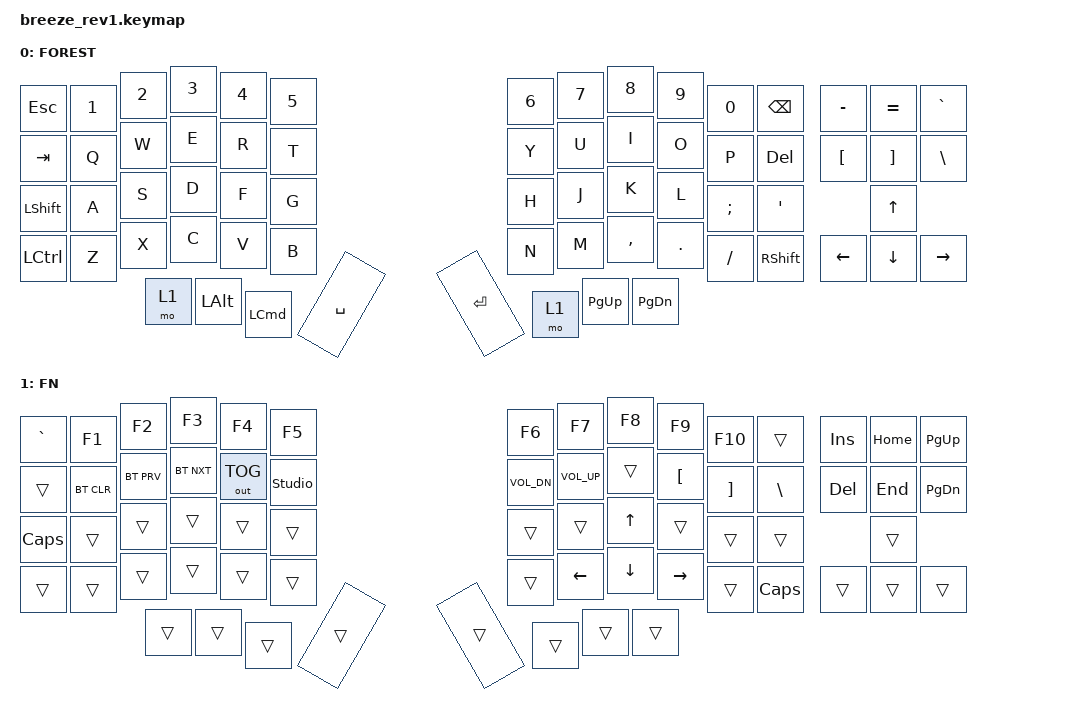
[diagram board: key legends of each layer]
/*
 * Copyright (c) 2022 The ZMK Contributors
 *
 * SPDX-License-Identifier: MIT
 */

#define ZMK_BEHAVIORS_KEEP_CAPS_WORD

#include <behaviors.dtsi>
#include <dt-bindings/zmk/bt.h>
#include <dt-bindings/zmk/keys.h>
#include <dt-bindings/zmk/outputs.h>

/ {
    keymap {
        compatible = "zmk,keymap";

        default_layer {
            display-name = "FOREST";

            // Ref: https://zmkfirmware.dev/docs/codes/
            // ---  MAIN  -----------------------------------------------------------------------------------------------------------------------
            // |    ESC    |     1     |     2     |     3      |      4      |      5     |                           |      6      |      7     |      8      |      9     |     0    |    BSPC    | |    -/_    |     =/+     |    GRAVE    |
            // |    TAB    |     Q     |     W     |     E      |      R      |      T     |                           |      Y      |      U     |      I      |      O     |     P    |    DEL     | |     \     |      [      |      ]      |
            // |   LCTRL   |     A     |     S     |     D      |      F      |      G     |                           |      H      |      J     |      K      |      L     |     ;    |     '      | |           |      UP     |             |
            // |   SHIFT   |     Z     |     X     |     C      |      V      |      B     |                           |      N      |      M     |      ,      |      .     |     /    |   RSHIFT   | |     L     |      DN     |      R      |
            //                                     |   NUMPAD   |     LALT    |    LCMD    |   SPACE    |  |   ENTER   |   FUNCTION  |  MACOS APP |  MACOS LANG |

            bindings = <
&kp ESC         &kp N1  &kp N2  &kp N3  &kp N4    &kp N5                          &kp N6  &kp N7       &kp N8         &kp N9   &kp N0    &kp BSPC    &kp MINUS         &kp EQUAL          &kp GRAVE
&kp TAB         &kp Q   &kp W   &kp E   &kp R     &kp T                           &kp Y   &kp U        &kp I          &kp O    &kp P     &kp DEL     &kp LEFT_BRACKET  &kp RIGHT_BRACKET  &kp BACKSLASH
&kp LEFT_SHIFT  &kp A   &kp S   &kp D   &kp F     &kp G                           &kp H   &kp J        &kp K          &kp L    &kp SEMI  &kp APOS                      &kp UP
&kp LCTRL       &kp Z   &kp X   &kp C   &kp V     &kp B                           &kp N   &kp M        &kp COMMA      &kp DOT  &kp FSLH  &kp RSHIFT  &kp LEFT          &kp DOWN           &kp RIGHT
                                &mo 1   &kp LALT  &kp LCMD  &kp SPACE  &kp ENTER  &mo 1   &kp PAGE_UP  &kp PAGE_DOWN
            >;
        };

        FN_layer {
            display-name = "FN";
            bindings = <
&kp GRAVE     &kp F1      &kp F2      &kp F3      &kp F4        &kp F5                          &kp F6        &kp F7           &kp F8          &kp F9     &kp F10   &trans         &kp INS     &kp HOME  &kp PAGE_UP
&trans        &bt BT_CLR  &bt BT_PRV  &bt BT_NXT  &out OUT_TOG  &studio_unlock                  &kp C_VOL_DN  &kp C_VOLUME_UP  &trans          &kp LBKT   &kp RBKT  &kp BACKSLASH  &kp DELETE  &kp END   &kp PAGE_DOWN
&kp CAPSLOCK  &trans      &trans      &trans      &trans        &trans                          &trans        &trans           &kp UP_ARROW    &trans     &trans    &trans                     &trans
&trans        &trans      &trans      &trans      &trans        &trans                          &trans        &kp LEFT         &kp DOWN_ARROW  &kp RIGHT  &trans    &kp CAPS       &trans      &trans    &trans
                                      &trans      &trans        &trans          &trans  &trans  &trans        &trans           &trans
            >;
        };

        extra1 {
            status = "reserved";
        };

        extra2 {
            status = "reserved";
        };
    };
};
